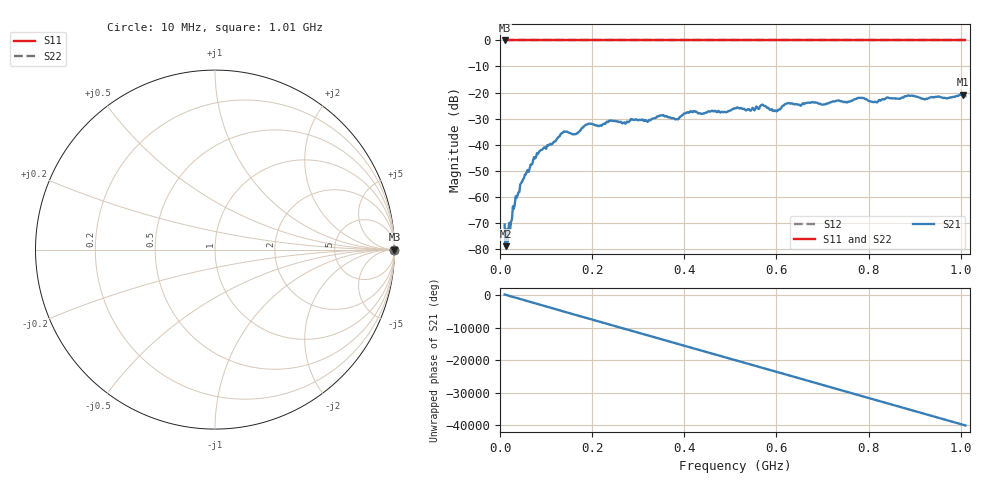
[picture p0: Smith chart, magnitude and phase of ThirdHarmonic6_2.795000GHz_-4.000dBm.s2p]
! 8/17/2025 7:14:52 AM
! C:\ANRITSUVNA\TEMP\TEMP.S2P
! CHANNEL.1
! TR.MEASUREMENT
! RAW.DATA
! RF.CORRECTION.OFF
! AVERAGING.OFF
! IF.BANDWIDTH: 5KHZ
! SWEEPTYPE:  FREQ.SWEEP(Linear)
! Reference Plane Port Info
! PORT:  PORT1  PORT2
! DISTANCE:  0  m  0  m
! TIME:  0  s  0  s
! PHASE.OFFSET:  0  deg.  0  deg.
! LOSS:  0  dB  0  dB
! REF.LOSS:  0  dB  0  dB
! REF.FREQ:  0  Hz  0  Hz
! Power Info
! POWER:  -20  dBm  -20  dBm
! EFF.POWER:  -20  dBm  -20  dBm
! SOURCE.ATTEN:  0  dB  0  dB
! TEST.ATTEN:  0  dB  0  dB
# GHZ S RI R 50.0
! FREQ.GHZ  S11RE  S11IM  S21RE  S21IM  S12RE  S12IM  S22RE  S22IM
!; PortSelection: Port_12
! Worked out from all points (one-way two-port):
!   501 points, 10 MHz to 1.01 GHz, reference 50 ohm
!   highest |S21| = -20.83 dB at 1.004 GHz (marker M1); lowest = -79.0 dB at 12 MHz (marker M2)
!   lowest |S11| = 0.0 dB at 10 MHz (marker M3)
!   |S11| at or under -10 dB: nowhere
!   |S22| runs from 0.0 to 0.0 dB; largest |S21 - S12| = 1.1
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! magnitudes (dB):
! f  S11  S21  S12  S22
! 10 MHz  0.0  -70.7  0.0  0.0
! 12 MHz  0.0  -79.0  0.0  0.0
! 20 MHz  0.0  -70.1  0.0  0.0
! 32 MHz  0.0  -63.0  0.0  0.0
! 48 MHz  0.0  -54.2  0.0  0.0
! 76 MHz  0.0  -45.3  0.0  0.0
! 136 MHz  0.0  -35.4  0.0  0.0
! 162 MHz  0.0  -36.0  0.0  0.0
! 178 MHz  0.0  -33.6  0.0  0.0
! 344 MHz  0.0  -29.1  0.0  0.0
! 384 MHz  0.0  -30.2  0.0  0.0
! 410 MHz  0.0  -27.8  0.0  0.0
! 510 MHz  0.0  -26.1  0.0  0.0
! 570 MHz  0.0  -24.7  0.0  0.0
! 598 MHz  0.0  -26.9  0.0  0.0
! 622 MHz  0.0  -24.3  0.0  0.0
! 678 MHz  0.0  -23.6  0.0  0.0
! 782 MHz  0.0  -22.1  0.0  0.0
! 814 MHz  0.0  -23.6  0.0  0.0
! 844 MHz  0.0  -22.1  0.0  0.0
! 1.004 GHz  0.0  -20.8  0.0  0.0
! 1.01 GHz  0.0  -21.4  0.0  0.0
